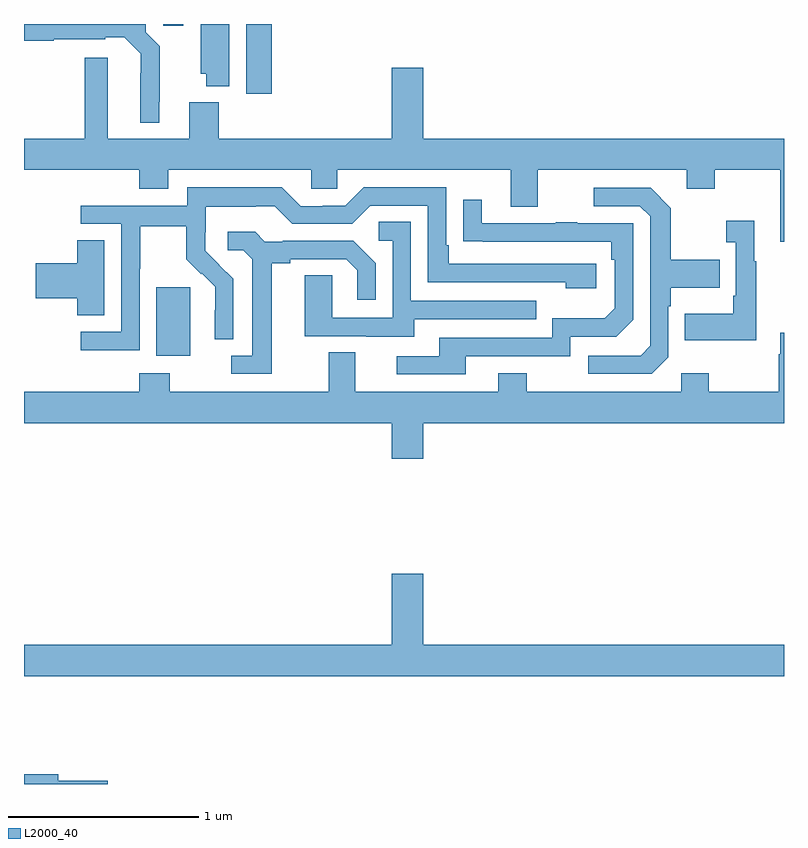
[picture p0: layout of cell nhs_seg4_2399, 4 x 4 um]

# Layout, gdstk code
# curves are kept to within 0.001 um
import gdstk
lib = gdstk.Library(unit=1e-6, precision=1e-09)
def R(c, l, rs):  # rectangles x0, y0, x1, y1
    for r in rs: c.add(gdstk.rectangle(r[:2], r[2:], *l))
def P(c, l, *ps):  # polygons
    for p in ps: c.add(gdstk.Polygon(p, *l))
L2000_40 = (2000, 40)

nhs_seg4_2399 = lib.new_cell('nhs_seg4_2399')
R(nhs_seg4_2399, L2000_40, [(235.697,817.154,235.876,817.515), (236.171,818.532,236.303,818.9), (235.733,818.892,235.837,818.9)])
P(nhs_seg4_2399, L2000_40, [(236.08,818.9),(235.931,818.9),(235.931,818.637),(235.958,818.637),(235.958,818.573),(236.08,818.573)],
  [(235.711,818.491),(235.715,818.491),(235.715,818.782),(235.641,818.856),(235.641,818.9),(235,818.9),(235,818.812),(235.156,818.812),(235.156,818.819),(235.428,818.819),(235.428,818.831),(235.527,818.831),(235.614,818.744),(235.613,818.381),(235.711,818.381)],
  [(239,818.296),(237.1,818.296),(237.1,818.671),(236.936,818.671),(236.936,818.296),(236.024,818.296),(236.024,818.488),(235.871,818.488),(235.871,818.296),(235.441,818.296),(235.441,818.722),(235.319,818.722),(235.319,818.296),(235,818.296),(235,818.132),(235.607,818.132),(235.607,818.033),(235.759,818.033),(235.759,818.132),(236.511,818.132),(236.511,818.034),(236.649,818.034),(236.649,818.132),(237.563,818.132),(237.563,817.938),(237.703,817.938),(237.703,818.132),(238.487,818.132),(238.487,818.033),(238.635,818.033),(238.635,818.132),(238.979,818.132),(238.979,817.755),(239,817.755)],
  [(235.608,817.612),(235.611,817.612),(235.611,817.836),(235.855,817.836),(235.855,817.661),(235.932,817.584),(235.935,817.587),(236.006,817.517),(236.006,817.394),(236.004,817.394),(236.004,817.24),(236.1,817.24),(236.1,817.558),(235.954,817.706),(235.954,817.803),(235.956,817.803),(235.956,817.937),(236.219,817.937),(236.219,817.941),(236.319,817.941),(236.412,817.848),(236.727,817.848),(236.823,817.944),(237.126,817.944),(237.126,817.542),(237.851,817.542),(237.851,817.508),(238.012,817.508),(238.012,817.638),(237.235,817.638),(237.235,817.735),(237.222,817.735),(237.222,818.04),(236.787,818.04),(236.691,817.944),(236.573,817.944),(236.573,817.941),(236.457,817.941),(236.357,818.041),(235.86,818.041),(235.86,817.944),(235.299,817.944),(235.299,817.848),(235.512,817.848),(235.512,817.281),(235.299,817.281),(235.299,817.183),(235.608,817.183)],
  [(238.392,817.146),(238.392,817.415),(238.405,817.415),(238.405,817.511),(238.661,817.511),(238.661,817.659),(238.405,817.659),(238.405,817.931),(238.299,818.037),(237.999,818.037),(237.999,817.941),(238.242,817.941),(238.296,817.887),(238.296,817.206),(238.245,817.155),(237.969,817.155),(237.969,817.059),(238.305,817.059)],
  [(237.325,817.152),(237.876,817.152),(237.876,817.254),(238.116,817.254),(238.206,817.344),(238.206,817.851),(237.911,817.851),(237.911,817.856),(237.799,817.856),(237.799,817.851),(237.409,817.851),(237.409,817.975),(237.313,817.975),(237.313,817.756),(238.09,817.755),(238.09,817.658),(238.11,817.658),(238.11,817.404),(238.057,817.351),(237.78,817.351),(237.78,817.248),(237.185,817.248),(237.185,817.152),(236.961,817.152),(236.961,817.056),(237.325,817.056)],
  [(238.855,817.651),(238.843,817.651),(238.843,817.864),(238.695,817.864),(238.695,817.751),(238.746,817.751),(238.746,817.471),(238.734,817.471),(238.734,817.375),(238.477,817.375),(238.477,817.235),(238.855,817.235)],
  [(237.055,817.347),(237.695,817.347),(237.695,817.443),(237.036,817.443),(237.036,817.859),(236.868,817.859),(236.868,817.758),(236.94,817.758),(236.94,817.353),(236.622,817.353),(236.622,817.577),(236.477,817.577),(236.477,817.257),(236.801,817.257),(236.801,817.253),(237.055,817.253)],
  [(236.305,817.64),(236.401,817.64),(236.401,817.662),(236.696,817.662),(236.753,817.605),(236.753,817.449),(236.85,817.449),(236.85,817.642),(236.734,817.758),(236.362,817.758),(236.362,817.755),(236.268,817.755),(236.216,817.807),(236.073,817.807),(236.073,817.71),(236.154,817.71),(236.201,817.663),(236.201,817.155),(236.091,817.155),(236.091,817.059),(236.305,817.059)],
  [(235.423,817.763),(235.28,817.763),(235.28,817.64),(235.062,817.64),(235.062,817.457),(235.28,817.457),(235.28,817.366),(235.423,817.366)],
  [(237.1,816.8),(239,816.8),(239,817.276),(238.979,817.276),(238.979,817.163),(238.972,817.163),(238.972,816.964),(238.605,816.964),(238.605,817.063),(238.458,817.063),(238.458,816.964),(237.645,816.964),(237.645,817.063),(237.497,817.063),(237.497,816.964),(236.743,816.964),(236.743,817.172),(236.603,817.172),(236.603,816.964),(235.767,816.964),(235.767,817.063),(235.607,817.063),(235.607,816.964),(235,816.964),(235,816.8),(236.936,816.8),(236.936,816.612),(237.1,816.612)],
  [(239,815.632),(237.1,815.632),(237.1,816.007),(236.936,816.007),(236.936,815.632),(235,815.632),(235,815.468),(239,815.468)],
  [(235.441,814.916),(235.18,814.916),(235.18,814.952),(235,814.952),(235,814.9),(235.441,814.9)])

lib.write_gds('nhs_seg4_2399.gds')
